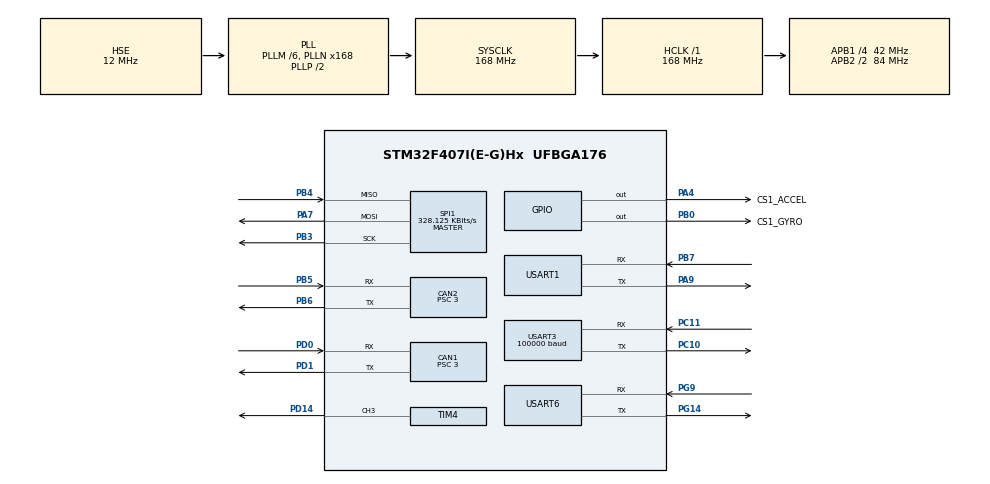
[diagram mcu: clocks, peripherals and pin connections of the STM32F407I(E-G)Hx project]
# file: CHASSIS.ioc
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CAN1.BS1=CAN_BS1_10TQ
CAN1.BS2=CAN_BS2_3TQ
CAN1.CalculateBaudRate=1000000
CAN1.CalculateTimeBit=1000
CAN1.CalculateTimeQuantum=71.42857142857143
CAN1.Prescaler=3
CAN2.BS1=CAN_BS1_12TQ
CAN2.CalculateBaudRate=1000000
CAN2.CalculateTimeBit=1000
CAN2.CalculateTimeQuantum=71.42857142857143
CAN2.NART=ENABLE
CAN2.Prescaler=3
Dma.Request0=SPI1_RX
Dma.Request1=SPI1_TX
Dma.Request2=USART3_RX
Dma.Request3=USART6_RX
Dma.Request4=USART6_TX
Dma.SPI1_RX.0.Direction=DMA_PERIPH_TO_MEMORY
Dma.SPI1_RX.0.FIFOMode=DMA_FIFOMODE_DISABLE
Dma.SPI1_RX.0.Instance=DMA2_Stream2
Dma.SPI1_RX.0.MemDataAlignment=DMA_MDATAALIGN_BYTE
Dma.SPI1_RX.0.MemInc=DMA_MINC_ENABLE
Dma.SPI1_RX.0.Mode=DMA_NORMAL
Dma.SPI1_RX.0.PeriphDataAlignment=DMA_PDATAALIGN_BYTE
Dma.SPI1_RX.0.PeriphInc=DMA_PINC_DISABLE
Dma.SPI1_RX.0.Priority=DMA_PRIORITY_LOW
Dma.SPI1_TX.1.Direction=DMA_MEMORY_TO_PERIPH
Dma.SPI1_TX.1.FIFOMode=DMA_FIFOMODE_DISABLE
Dma.SPI1_TX.1.Instance=DMA2_Stream3
Dma.SPI1_TX.1.MemDataAlignment=DMA_MDATAALIGN_BYTE
Dma.SPI1_TX.1.MemInc=DMA_MINC_ENABLE
Dma.SPI1_TX.1.Mode=DMA_NORMAL
Dma.SPI1_TX.1.PeriphDataAlignment=DMA_PDATAALIGN_BYTE
Dma.SPI1_TX.1.PeriphInc=DMA_PINC_DISABLE
Dma.SPI1_TX.1.Priority=DMA_PRIORITY_LOW
Dma.USART3_RX.2.Direction=DMA_PERIPH_TO_MEMORY
Dma.USART3_RX.2.FIFOMode=DMA_FIFOMODE_DISABLE
Dma.USART3_RX.2.Instance=DMA1_Stream1
Dma.USART3_RX.2.MemDataAlignment=DMA_MDATAALIGN_BYTE
Dma.USART3_RX.2.MemInc=DMA_MINC_ENABLE
Dma.USART3_RX.2.Mode=DMA_NORMAL
Dma.USART3_RX.2.PeriphDataAlignment=DMA_PDATAALIGN_BYTE
Dma.USART3_RX.2.PeriphInc=DMA_PINC_DISABLE
Dma.USART3_RX.2.Priority=DMA_PRIORITY_LOW
Dma.USART6_RX.3.Direction=DMA_PERIPH_TO_MEMORY
Dma.USART6_RX.3.FIFOMode=DMA_FIFOMODE_DISABLE
Dma.USART6_RX.3.Instance=DMA2_Stream1
Dma.USART6_RX.3.MemDataAlignment=DMA_MDATAALIGN_BYTE
Dma.USART6_RX.3.MemInc=DMA_MINC_ENABLE
Dma.USART6_RX.3.Mode=DMA_NORMAL
Dma.USART6_RX.3.PeriphDataAlignment=DMA_PDATAALIGN_BYTE
Dma.USART6_RX.3.PeriphInc=DMA_PINC_DISABLE
Dma.USART6_RX.3.Priority=DMA_PRIORITY_LOW
Dma.USART6_TX.4.Direction=DMA_MEMORY_TO_PERIPH
Dma.USART6_TX.4.FIFOMode=DMA_FIFOMODE_DISABLE
Dma.USART6_TX.4.Instance=DMA2_Stream6
Dma.USART6_TX.4.MemDataAlignment=DMA_MDATAALIGN_BYTE
Dma.USART6_TX.4.MemInc=DMA_MINC_ENABLE
Dma.USART6_TX.4.Mode=DMA_NORMAL
Dma.USART6_TX.4.PeriphDataAlignment=DMA_PDATAALIGN_BYTE
Dma.USART6_TX.4.PeriphInc=DMA_PINC_DISABLE
Dma.USART6_TX.4.Priority=DMA_PRIORITY_LOW
FREERTOS.Tasks01=TEST_TASK,-2,128,test_task,As weak,NULL,Dynamic,NULL,NULL;CHASSIS_TASK,0,256,chassis_task,As weak,NULL,Dynamic,NULL,NULL;INS_TASK,3,1024,INS_task,As weak,NULL,Dynamic,NULL,NULL;DETECT_TASK,-1,128,detect_task,As weak,NULL,Dynamic,NULL,NULL;VOFA_TASK,-1,128,vofa_task,As weak,NULL,Dynamic,NULL,NULL;COMMUNICATE_TAS,0,128,communicate_task,As weak,NULL,Dynamic,NULL,NULL;TRIG_TASK,0,128,trig_task,As weak,NULL,Dynamic,NULL,NULL;KEY_TASK,-2,128,key_task,As weak,NULL,Dynamic,NULL,NULL;UI_TASK,-2,128,ui_task,As weak,NULL,Dynamic,NULL,NULL
FREERTOS.Timers01=ShootTimer,ShootTimer_Callback,osTimerPeriodic,Default,NULL,Dynamic,NULL
FREERTOS.configTIMER_TASK_PRIORITY=6
FREERTOS.configUSE_TIMERS=1
Mcu.Family=STM32F4
Mcu.Name=STM32F407I(E-G)Hx
Mcu.Package=UFBGA176
NVIC.CAN1_RX0_IRQn=true\:5\:0\:false\:false\:true\:true\:true\:true\:true
NVIC.CAN1_RX1_IRQn=true\:5\:0\:false\:false\:true\:true\:true\:true\:true
NVIC.CAN1_TX_IRQn=true\:5\:0\:false\:false\:true\:true\:true\:true\:true
NVIC.CAN2_RX0_IRQn=true\:5\:0\:false\:false\:true\:true\:true\:true\:true
NVIC.CAN2_RX1_IRQn=true\:5\:0\:false\:false\:true\:true\:true\:true\:true
NVIC.DMA1_Stream1_IRQn=true\:5\:0\:false\:false\:true\:true\:false\:true\:true
NVIC.DMA2_Stream1_IRQn=true\:5\:0\:false\:false\:true\:true\:false\:true\:true
NVIC.DMA2_Stream2_IRQn=true\:5\:0\:false\:false\:true\:true\:false\:true\:true
NVIC.DMA2_Stream3_IRQn=true\:5\:0\:false\:false\:true\:true\:false\:true\:true
NVIC.DMA2_Stream6_IRQn=true\:5\:0\:false\:false\:true\:true\:false\:true\:true
NVIC.PriorityGroup=NVIC_PRIORITYGROUP_4
NVIC.TIM5_IRQn=true\:5\:0\:false\:false\:true\:true\:true\:true\:true
NVIC.TIM6_DAC_IRQn=true\:15\:0\:false\:false\:true\:false\:false\:true\:true
NVIC.TimeBase=TIM6_DAC_IRQn
NVIC.TimeBaseIP=TIM6
NVIC.USART1_IRQn=true\:5\:0\:false\:false\:true\:true\:true\:true\:true
NVIC.USART3_IRQn=true\:5\:0\:false\:false\:true\:true\:true\:true\:true
NVIC.USART6_IRQn=true\:5\:0\:false\:false\:true\:true\:true\:true\:true
PA13.Mode=Serial_Wire
PA13.Signal=SYS_JTMS-SWDIO
PA14.Mode=Serial_Wire
PA14.Signal=SYS_JTCK-SWCLK
PA4.GPIO_Label=CS1_ACCEL
PA4.GPIO_PuPd=GPIO_NOPULL
PA4.GPIO_Speed=GPIO_SPEED_FREQ_HIGH
PA4.PinState=GPIO_PIN_SET
PA4.Signal=GPIO_Output
PA7.Mode=Full_Duplex_Master
PA7.Signal=SPI1_MOSI
PA9.Mode=Asynchronous
PA9.Signal=USART1_TX
PB0.GPIO_Label=CS1_GYRO
PB0.GPIO_Speed=GPIO_SPEED_FREQ_HIGH
PB0.PinState=GPIO_PIN_SET
PB0.Signal=GPIO_Output
PB3.Mode=Full_Duplex_Master
PB3.Signal=SPI1_SCK
PB4.Mode=Full_Duplex_Master
PB4.Signal=SPI1_MISO
PB5.Mode=CAN_Activate
PB5.Signal=CAN2_RX
PB6.Mode=CAN_Activate
PB6.Signal=CAN2_TX
PB7.Mode=Asynchronous
PB7.Signal=USART1_RX
PC10.Mode=Asynchronous
PC10.Signal=USART3_TX
PC11.Mode=Asynchronous
PC11.Signal=USART3_RX
PD0.Mode=CAN_Activate
PD0.Signal=CAN1_RX
PD1.Mode=CAN_Activate
PD1.Signal=CAN1_TX
PD14.Signal=S_TIM4_CH3
PG14.Mode=Asynchronous
PG14.Signal=USART6_TX
PG9.Mode=Asynchronous
PG9.Signal=USART6_RX
PH0-OSC_IN.Mode=HSE-External-Oscillator
PH0-OSC_IN.Signal=RCC_OSC_IN
PH1-OSC_OUT.Mode=HSE-External-Oscillator
PH1-OSC_OUT.Signal=RCC_OSC_OUT
ProjectManager.HeapSize=0x200
ProjectManager.StackSize=0x400
ProjectManager.TargetToolchain=MDK-ARM V5.32
RCC.48MHZClocksFreq_Value=84000000
RCC.AHBFreq_Value=168000000
RCC.APB1CLKDivider=RCC_HCLK_DIV4
RCC.APB1Freq_Value=42000000
RCC.APB1TimFreq_Value=84000000
RCC.APB2CLKDivider=RCC_HCLK_DIV2
RCC.APB2Freq_Value=84000000
RCC.APB2TimFreq_Value=168000000
RCC.CortexFreq_Value=168000000
RCC.HCLKFreq_Value=168000000
RCC.HSE_VALUE=12000000
RCC.HSI_VALUE=16000000
RCC.LSE_VALUE=32768
RCC.PLLM=6
RCC.PLLN=168
RCC.PLLSourceVirtual=RCC_PLLSOURCE_HSE
RCC.SYSCLKFreq_VALUE=168000000
RCC.SYSCLKSource=RCC_SYSCLKSOURCE_PLLCLK
RCC.VCOOutputFreq_Value=336000000
SH.S_TIM4_CH3.0=TIM4_CH3,PWM Generation3 CH3
SPI1.BaudRatePrescaler=SPI_BAUDRATEPRESCALER_256
SPI1.CLKPhase=SPI_PHASE_2EDGE
SPI1.CLKPolarity=SPI_POLARITY_HIGH
SPI1.CalculateBaudRate=328.125 KBits/s
SPI1.Direction=SPI_DIRECTION_2LINES
SPI1.Mode=SPI_MODE_MASTER
SPI1.VirtualType=VM_MASTER
TIM4.Channel-PWM\ Generation3\ CH3=TIM_CHANNEL_3
TIM4.Period=20999
TIM5.AutoReloadPreload=TIM_AUTORELOAD_PRELOAD_ENABLE
TIM5.Period=42000-1
TIM5.Prescaler=0
USART1.VirtualMode=VM_ASYNC
USART3.BaudRate=100000
USART3.VirtualMode=VM_ASYNC
USART6.VirtualMode=VM_ASYNC
VP_FREERTOS_VS_CMSIS_V1.Mode=CMSIS_V1
VP_SYS_VS_tim6.Mode=TIM6
VP_TIM4_VS_ClockSourceINT.Mode=Internal
VP_TIM5_VS_ClockSourceINT.Mode=Internal
board=custom

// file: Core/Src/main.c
/* USER CODE BEGIN Header */

/* USER CODE END Header */
#include "main.h"
#include "cmsis_os.h"
#include "can.h"
#include "dma.h"
#include "spi.h"
#include "tim.h"
#include "usart.h"
#include "gpio.h"

/* USER CODE BEGIN Includes */
#include "Can_receive.h"
#include "pid.h"
#include "remote_control.h"
#include "bsp_buzzer.h"
#include "event_groups.h"
#include "referee.h"
#include "trig_task.h"
/* USER CODE END Includes */

void SystemClock_Config(void);
void MX_FREERTOS_Init(void);

int main(void)
{

  /* MCU Configuration--------------------------------------------------------*/

  /* Reset of all peripherals, Initializes the Flash interface and the Systick. */
  HAL_Init();

  /* Configure the system clock */
  SystemClock_Config();

  /* Initialize all configured peripherals */
  MX_GPIO_Init();
  MX_DMA_Init();
  MX_CAN1_Init();
  MX_CAN2_Init();
  MX_SPI1_Init();
  MX_USART1_UART_Init();
  MX_USART3_UART_Init();
  MX_USART6_UART_Init();
  MX_TIM4_Init();
  MX_TIM5_Init();
  /* USER CODE BEGIN 2 */
	HAL_TIM_Base_Start_IT(&htim5);

	remote_control_init();
	Buzzer_Init();
	canfilter_init_start();
	Referee_Sys_Init();//裁判系统收发初始化
  /* USER CODE END 2 */

  /* Call init function for freertos objects (in freertos.c) */
  MX_FREERTOS_Init();

  /* Start scheduler */
  osKernelStart();

  /* We should never get here as control is now taken by the scheduler */
  /* Infinite loop */
  while (1)
  {

  }
}

void SystemClock_Config(void)
{
  RCC_OscInitTypeDef RCC_OscInitStruct = {0};
  RCC_ClkInitTypeDef RCC_ClkInitStruct = {0};

  /** Configure the main internal regulator output voltage
  */
  __HAL_RCC_PWR_CLK_ENABLE();
  __HAL_PWR_VOLTAGESCALING_CONFIG(PWR_REGULATOR_VOLTAGE_SCALE1);

  /** Initializes the RCC Oscillators according to the specified parameters
  * in the RCC_OscInitTypeDef structure.
  */
  RCC_OscInitStruct.OscillatorType = RCC_OSCILLATORTYPE_HSE;
  RCC_OscInitStruct.HSEState = RCC_HSE_ON;
  RCC_OscInitStruct.PLL.PLLState = RCC_PLL_ON;
  RCC_OscInitStruct.PLL.PLLSource = RCC_PLLSOURCE_HSE;
  RCC_OscInitStruct.PLL.PLLM = 6;
  RCC_OscInitStruct.PLL.PLLN = 168;
  RCC_OscInitStruct.PLL.PLLP = RCC_PLLP_DIV2;
  RCC_OscInitStruct.PLL.PLLQ = 4;
  if (HAL_RCC_OscConfig(&RCC_OscInitStruct) != HAL_OK)
  {
    Error_Handler();
  }

  /** Initializes the CPU, AHB and APB buses clocks
  */
  RCC_ClkInitStruct.ClockType = RCC_CLOCKTYPE_HCLK|RCC_CLOCKTYPE_SYSCLK
                              |RCC_CLOCKTYPE_PCLK1|RCC_CLOCKTYPE_PCLK2;
  RCC_ClkInitStruct.SYSCLKSource = RCC_SYSCLKSOURCE_PLLCLK;
  RCC_ClkInitStruct.AHBCLKDivider = RCC_SYSCLK_DIV1;
  RCC_ClkInitStruct.APB1CLKDivider = RCC_HCLK_DIV4;
  RCC_ClkInitStruct.APB2CLKDivider = RCC_HCLK_DIV2;

  if (HAL_RCC_ClockConfig(&RCC_ClkInitStruct, FLASH_LATENCY_5) != HAL_OK)
  {
    Error_Handler();
  }
}

/* USER CODE BEGIN 4 */
//extern uint8_t trig_flag;
/* USER CODE END 4 */

void HAL_TIM_PeriodElapsedCallback(TIM_HandleTypeDef *htim)
{
  /* USER CODE BEGIN Callback 0 */
	static uint16_t cnt;
	static uint16_t shoot_time;//打多少毫秒

	if(htim->Instance == TIM5)
	{
		//当前最大热量限制
		//射击热量每100ms冷却一次，每一次冷却热量	冷却值/10
		//打一发弹丸	+10
		//当前热量 + (shoot_time/1000.0f*波胆频率)*10 -  每秒冷却值/10*	shoot_time/1000.0f = 最大热量限制
		//shoot_time(10/1000.0f*波胆频率 - 每秒冷却值/10/1000.0f) = 最大热量限制 - 当前热量
		//shoot_time =最大热量限制 / (10/1000.0f*波胆频率 - 每秒冷却值/10/1000.0f)
		shoot_time = (trig_control.trig_referee->ext_game_robot_state.shooter_cooling_limit - trig_control.trig_referee->ext_power_heat_data.shooter_id1_17mm_cooling_heat-40)/(10.f/1000.f * TRIG_BASE_SPEED - (trig_control.trig_referee->ext_game_robot_state.shooter_cooling_rate-5)/10.f/1000.f);
		if(gimbal_data.FireFlag)
		{
			cnt++;
		}
			if(cnt >= (shoot_time-30))
			{
				trig_control.Fire = 0;
				cnt = 0;

			}
			else
			{
				trig_control.Fire = 1;
			}
		if(trig_control.trig_referee->ext_game_robot_state.shooter_cooling_limit - trig_control.trig_referee->ext_power_heat_data.shooter_id1_17mm_cooling_heat <= 40)
			trig_control.Fire = 0;

	}
  /* USER CODE END Callback 0 */
  if (htim->Instance == TIM6) {
    HAL_IncTick();
  }
}

void Error_Handler(void)
{
  __disable_irq();
  while (1)
  {
  }
}

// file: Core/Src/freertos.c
/* USER CODE BEGIN Header */
/**
  ******************************************************************************
  * File Name          : freertos.c
  * Description        : Code for freertos applications
  ******************************************************************************
  * @attention
  *
  * Copyright (c) 2024 STMicroelectronics.
  * All rights reserved.
  *
  * This software is licensed under terms that can be found in the LICENSE file
  * in the root directory of this software component.
  * If no LICENSE file comes with this software, it is provided AS-IS.
  *
  ******************************************************************************
  */
/* USER CODE END Header */

#include "FreeRTOS.h"
#include "task.h"
#include "main.h"
#include "cmsis_os.h"

/* USER CODE BEGIN Includes */

#include "event_groups.h"
#include "tim.h"
#include "remote_control.h"
#include "trig_task.h"
/* USER CODE END Includes */

/* USER CODE BEGIN Variables */

EventGroupHandle_t my_shootEventGroupHandle;

/* USER CODE END Variables */
osThreadId TEST_TASKHandle;
osThreadId CHASSIS_TASKHandle;
osThreadId INS_TASKHandle;
osThreadId DETECT_TASKHandle;
osThreadId VOFA_TASKHandle;
osThreadId COMMUNICATE_TASHandle;
osThreadId TRIG_TASKHandle;
osThreadId KEY_TASKHandle;
osThreadId UI_TASKHandle;
osTimerId ShootTimerHandle;

void test_task(void const * argument);
void chassis_task(void const * argument);
void INS_task(void const * argument);
void detect_task(void const * argument);
void vofa_task(void const * argument);
void communicate_task(void const * argument);
void trig_task(void const * argument);
void key_task(void const * argument);
void ui_task(void const * argument);
void ShootTimer_Callback(void const * argument);

void MX_FREERTOS_Init(void); /* (MISRA C 2004 rule 8.1) */

/* GetIdleTaskMemory prototype (linked to static allocation support) */
void vApplicationGetIdleTaskMemory( StaticTask_t **ppxIdleTaskTCBBuffer, StackType_t **ppxIdleTaskStackBuffer, uint32_t *pulIdleTaskStackSize );

/* GetTimerTaskMemory prototype (linked to static allocation support) */
void vApplicationGetTimerTaskMemory( StaticTask_t **ppxTimerTaskTCBBuffer, StackType_t **ppxTimerTaskStackBuffer, uint32_t *pulTimerTaskStackSize );

/* USER CODE BEGIN GET_IDLE_TASK_MEMORY */
static StaticTask_t xIdleTaskTCBBuffer;
static StackType_t xIdleStack[configMINIMAL_STACK_SIZE];

void vApplicationGetIdleTaskMemory( StaticTask_t **ppxIdleTaskTCBBuffer, StackType_t **ppxIdleTaskStackBuffer, uint32_t *pulIdleTaskStackSize )
{
  *ppxIdleTaskTCBBuffer = &xIdleTaskTCBBuffer;
  *ppxIdleTaskStackBuffer = &xIdleStack[0];
  *pulIdleTaskStackSize = configMINIMAL_STACK_SIZE;
  /* place for user code */
}
/* USER CODE END GET_IDLE_TASK_MEMORY */

/* USER CODE BEGIN GET_TIMER_TASK_MEMORY */
static StaticTask_t xTimerTaskTCBBuffer;
static StackType_t xTimerStack[configTIMER_TASK_STACK_DEPTH];

void vApplicationGetTimerTaskMemory( StaticTask_t **ppxTimerTaskTCBBuffer, StackType_t **ppxTimerTaskStackBuffer, uint32_t *pulTimerTaskStackSize )
{
  *ppxTimerTaskTCBBuffer = &xTimerTaskTCBBuffer;
  *ppxTimerTaskStackBuffer = &xTimerStack[0];
  *pulTimerTaskStackSize = configTIMER_TASK_STACK_DEPTH;
  /* place for user code */
}
/* USER CODE END GET_TIMER_TASK_MEMORY */

void MX_FREERTOS_Init(void) {
  /* USER CODE BEGIN Init */

	#ifdef CASCADE
	my_shootEventGroupHandle = xEventGroupCreate();
	if(my_shootEventGroupHandle == NULL)
	{
		return;
	}

	HAL_TIM_Base_Start_IT(&htim5);

  /* USER CODE END Init */

  /* Create the timer(s) */
  /* definition and creation of ShootTimer */
  osTimerDef(ShootTimer, ShootTimer_Callback);
  ShootTimerHandle = osTimerCreate(osTimer(ShootTimer), osTimerPeriodic, NULL);

  /* USER CODE BEGIN RTOS_TIMERS */
	#endif
  /* start timers, add new ones, ... */
  /* USER CODE END RTOS_TIMERS */

  /* Create the thread(s) */
  /* definition and creation of TEST_TASK */
  osThreadDef(TEST_TASK, test_task, osPriorityLow, 0, 128);
  TEST_TASKHandle = osThreadCreate(osThread(TEST_TASK), NULL);

  /* definition and creation of CHASSIS_TASK */
  osThreadDef(CHASSIS_TASK, chassis_task, osPriorityNormal, 0, 256);
  CHASSIS_TASKHandle = osThreadCreate(osThread(CHASSIS_TASK), NULL);

  /* definition and creation of INS_TASK */
  osThreadDef(INS_TASK, INS_task, osPriorityRealtime, 0, 1024);
  INS_TASKHandle = osThreadCreate(osThread(INS_TASK), NULL);

  /* definition and creation of DETECT_TASK */
  osThreadDef(DETECT_TASK, detect_task, osPriorityBelowNormal, 0, 128);
  DETECT_TASKHandle = osThreadCreate(osThread(DETECT_TASK), NULL);

  /* definition and creation of VOFA_TASK */
  osThreadDef(VOFA_TASK, vofa_task, osPriorityBelowNormal, 0, 128);
  VOFA_TASKHandle = osThreadCreate(osThread(VOFA_TASK), NULL);

  /* definition and creation of COMMUNICATE_TAS */
  osThreadDef(COMMUNICATE_TAS, communicate_task, osPriorityNormal, 0, 128);
  COMMUNICATE_TASHandle = osThreadCreate(osThread(COMMUNICATE_TAS), NULL);

  /* definition and creation of TRIG_TASK */
  osThreadDef(TRIG_TASK, trig_task, osPriorityNormal, 0, 128);
  TRIG_TASKHandle = osThreadCreate(osThread(TRIG_TASK), NULL);

  /* definition and creation of KEY_TASK */
  osThreadDef(KEY_TASK, key_task, osPriorityLow, 0, 128);
  KEY_TASKHandle = osThreadCreate(osThread(KEY_TASK), NULL);

  /* definition and creation of UI_TASK */
  osThreadDef(UI_TASK, ui_task, osPriorityLow, 0, 128);
  UI_TASKHandle = osThreadCreate(osThread(UI_TASK), NULL);

}

__weak void test_task(void const * argument)
{
  for(;;)
  {
    osDelay(1);
  }
}

__weak void chassis_task(void const * argument)
{
  for(;;)
  {
    osDelay(1);
  }
}

__weak void INS_task(void const * argument)
{
  for(;;)
  {
    osDelay(1);
  }
}

__weak void detect_task(void const * argument)
{
  for(;;)
  {
    osDelay(1);
  }
}

__weak void vofa_task(void const * argument)
{
  for(;;)
  {
    osDelay(1);
  }
}

__weak void communicate_task(void const * argument)
{
  for(;;)
  {
    osDelay(1);
  }
}

__weak void trig_task(void const * argument)
{
  for(;;)
  {
    osDelay(1);
  }
}

__weak void key_task(void const * argument)
{
  for(;;)
  {
    osDelay(1);
  }
}

__weak void ui_task(void const * argument)
{
  for(;;)
  {
    osDelay(1);
  }
}

/* ShootTimer_Callback function */
void ShootTimer_Callback(void const * argument)
{
  /* USER CODE BEGIN ShootTimer_Callback */
	#ifndef CASCADE
//	if(switch_is_up(trig_control.rc_data->rc_sl))
//	{
//		//xEventGroupSetBits(my_shootEventGroupHandle,ShootEvent_1);
//		trig_control.trig_fire_mode = Serial_fire;
//	}
	#endif
  /* USER CODE END ShootTimer_Callback */
}
